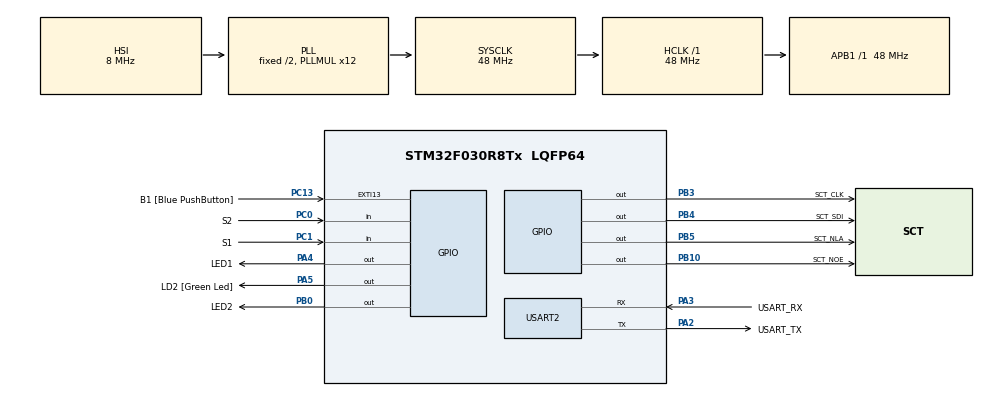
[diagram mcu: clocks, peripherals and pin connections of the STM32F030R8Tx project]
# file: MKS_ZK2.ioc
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Mcu.Family=STM32F0
Mcu.Name=STM32F030R8Tx
Mcu.Package=LQFP64
PA13.GPIO_Label=TMS
PA13.Mode=Serial_Wire
PA13.Signal=SYS_SWDIO
PA14.GPIO_Label=TCK
PA14.Mode=Serial_Wire
PA14.Signal=SYS_SWCLK
PA2.GPIO_Label=USART_TX
PA2.GPIO_Mode=GPIO_MODE_AF_PP
PA2.GPIO_PuPd=GPIO_NOPULL
PA2.GPIO_Speed=GPIO_SPEED_FREQ_LOW
PA2.Mode=Asynchronous
PA2.Signal=USART2_TX
PA3.GPIO_Label=USART_RX
PA3.GPIO_Mode=GPIO_MODE_AF_PP
PA3.GPIO_PuPd=GPIO_NOPULL
PA3.GPIO_Speed=GPIO_SPEED_FREQ_LOW
PA3.Mode=Asynchronous
PA3.Signal=USART2_RX
PA4.GPIO_Label=LED1
PA4.Signal=GPIO_Output
PA5.GPIO_Label=LD2 [Green Led]
PA5.GPIO_Mode=GPIO_MODE_OUTPUT_PP
PA5.GPIO_PuPd=GPIO_NOPULL
PA5.GPIO_Speed=GPIO_SPEED_FREQ_LOW
PA5.Signal=GPIO_Output
PB0.GPIO_Label=LED2
PB0.Signal=GPIO_Output
PB10.GPIO_Label=SCT_NOE
PB10.Signal=GPIO_Output
PB3.GPIO_Label=SCT_CLK
PB3.Signal=GPIO_Output
PB4.GPIO_Label=SCT_SDI
PB4.Signal=GPIO_Output
PB5.GPIO_Label=SCT_NLA
PB5.Signal=GPIO_Output
PC0.GPIO_Label=S2
PC0.GPIO_PuPd=GPIO_PULLUP
PC0.Signal=GPIO_Input
PC1.GPIO_Label=S1
PC1.GPIO_PuPd=GPIO_PULLUP
PC1.Signal=GPIO_Input
PC13.GPIO_Label=B1 [Blue PushButton]
PC13.GPIO_ModeDefaultEXTI=GPIO_MODE_IT_FALLING
PC13.Signal=GPXTI13
PC14-OSC32_IN.Mode=LSE-External-Oscillator
PC14-OSC32_IN.Signal=RCC_OSC32_IN
PC15-OSC32_OUT.Mode=LSE-External-Oscillator
PC15-OSC32_OUT.Signal=RCC_OSC32_OUT
PF0-OSC_IN.Mode=HSE-External-Clock-Source
PF0-OSC_IN.Signal=RCC_OSC_IN
PF1-OSC_OUT.Signal=RCC_OSC_OUT
ProjectManager.HeapSize=0x200
ProjectManager.StackSize=0x400
ProjectManager.TargetToolchain=STM32CubeIDE
RCC.AHBFreq_Value=48000000
RCC.APB1Freq_Value=48000000
RCC.APB1TimFreq_Value=48000000
RCC.HCLKFreq_Value=48000000
RCC.PLLMUL=RCC_PLL_MUL12
RCC.SYSCLKFreq_VALUE=48000000
RCC.SYSCLKSource=RCC_SYSCLKSOURCE_PLLCLK
USART2.VirtualMode-Asynchronous=VM_ASYNC
board=NUCLEO-F030R8

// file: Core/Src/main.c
/* USER CODE BEGIN Header */
/**
  ******************************************************************************
  * @file           : main.c
  * @brief          : Main program body
  ******************************************************************************
  * @attention
  *
  * Copyright (c) 2023 STMicroelectronics.
  * All rights reserved.
  *
  * This software is licensed under terms that can be found in the LICENSE file
  * in the root directory of this software component.
  * If no LICENSE file comes with this software, it is provided AS-IS.
  *
  ******************************************************************************
  */
/* USER CODE END Header */
#include "main.h"

/* USER CODE BEGIN Includes */
#include "sct.h"
/* USER CODE END Includes */

UART_HandleTypeDef huart2;

/* USER CODE BEGIN PV */

static uint8_t S1 = 0;
static uint32_t pressed_S1 = 0;
static uint8_t switch1 = 0;
static volatile uint8_t switch1_count = 0;

static volatile uint8_t dice = 0;
static uint8_t dice_roll = 1;
static uint32_t num1 = 0;
static volatile uint32_t roll_time = 100;
static volatile uint16_t roll_count = 0;

static volatile uint8_t rolling = 0;

static uint8_t kr = 0;
static uint8_t rev_dir = 1;
/* USER CODE END PV */

void SystemClock_Config(void);
static void MX_GPIO_Init(void);
static void MX_USART2_UART_Init(void);

/* USER CODE BEGIN 0 */

void dice_value(){
	static uint8_t dice_prev = 0;

	dice= (rand() % 6) + 1;

	if(dice == dice_prev){ // ochrana proti dvoum stejnym hodnotam po sobe
		dice= (rand() % 6) + 1;
	}

	dice_prev = dice;
}

/* USER CODE END 0 */

int main(void)
{

  /* MCU Configuration--------------------------------------------------------*/

  /* Reset of all peripherals, Initializes the Flash interface and the Systick. */
  HAL_Init();

  /* Configure the system clock */
  SystemClock_Config();

  /* Initialize all configured peripherals */
  MX_GPIO_Init();
  MX_USART2_UART_Init();
  /* USER CODE BEGIN 2 */
  sct_init();
  /* USER CODE END 2 */

  /* Infinite loop */
  /* USER CODE BEGIN WHILE */
  while (1)
  {

  HAL_GPIO_WritePin(LED1_GPIO_Port, LED1_Pin, 1);
  HAL_GPIO_WritePin(LED2_GPIO_Port, LED2_Pin, 1);

	switch(S1){ // S1 s osetrenymi zakmity
	case 0:
			switch1 = HAL_GPIO_ReadPin(S1_GPIO_Port, S1_Pin);
			if(switch1==0){
				switch1_count++;
				pressed_S1 = HAL_GetTick();
				S1 = 1;
			}
			break;

	case 1:
			if(HAL_GetTick() - pressed_S1>200){
				S1=0;
			}
			break;
	}

	switch(switch1_count){
	case 1:
		rolling = 1;
		switch1_count = 2;
	break;

	case 2:
		//idle

	break;

	case 3:
		rolling = 0;
		roll_count= 0;
		roll_time = 100;
		switch1_count = 0;
	break;
	}

	switch(dice_roll){
		case 1:
			if(rolling == 1){
				num1 = HAL_GetTick();
				dice_roll = 2;
			}
		break;

		case 2:
			if(HAL_GetTick()-num1 > roll_time){
				dice_value();
				roll_count ++;
				if(roll_count==40){
					roll_count=0;
					roll_time = 100;
					rolling = 0;
				}
			dice_roll = 1;
			}

		break;
	}

	switch(roll_count){
		case 20:
			roll_time = 200;
		break;

		case 31:
			roll_time = 300;
		break;

		case 35:
			roll_time = 400;
		break;

		case 38:
			roll_time = 1000;
		break;
	}

	static uint32_t lastDisplayTicks = 0;

	if (HAL_GetTick() >= lastDisplayTicks + 50) { // osetreni pro prepisovani displeje
			if(rev_dir) kr++;
			else kr--;
			if(kr > 8)
			{
			  kr = 0; // knight rider bargraph
			  rev_dir = !rev_dir;
			}
			else if(kr < 0)
			{
			kr = 0; // knight rider bargraph
			rev_dir = !rev_dir;
			}

			sct_value((dice*10) , kr, 0); // hodnota pro vypis, LED bargraf, desetinna carka

	lastDisplayTicks = HAL_GetTick();
	}

    /* USER CODE END WHILE */

  }
}

void SystemClock_Config(void)
{
  RCC_OscInitTypeDef RCC_OscInitStruct = {0};
  RCC_ClkInitTypeDef RCC_ClkInitStruct = {0};

  /** Initializes the RCC Oscillators according to the specified parameters
  * in the RCC_OscInitTypeDef structure.
  */
  RCC_OscInitStruct.OscillatorType = RCC_OSCILLATORTYPE_HSI;
  RCC_OscInitStruct.HSIState = RCC_HSI_ON;
  RCC_OscInitStruct.HSICalibrationValue = RCC_HSICALIBRATION_DEFAULT;
  RCC_OscInitStruct.PLL.PLLState = RCC_PLL_ON;
  RCC_OscInitStruct.PLL.PLLSource = RCC_PLLSOURCE_HSI;
  RCC_OscInitStruct.PLL.PLLMUL = RCC_PLL_MUL12;
  RCC_OscInitStruct.PLL.PREDIV = RCC_PREDIV_DIV1;
  if (HAL_RCC_OscConfig(&RCC_OscInitStruct) != HAL_OK)
  {
    Error_Handler();
  }

  /** Initializes the CPU, AHB and APB buses clocks
  */
  RCC_ClkInitStruct.ClockType = RCC_CLOCKTYPE_HCLK|RCC_CLOCKTYPE_SYSCLK
                              |RCC_CLOCKTYPE_PCLK1;
  RCC_ClkInitStruct.SYSCLKSource = RCC_SYSCLKSOURCE_PLLCLK;
  RCC_ClkInitStruct.AHBCLKDivider = RCC_SYSCLK_DIV1;
  RCC_ClkInitStruct.APB1CLKDivider = RCC_HCLK_DIV1;

  if (HAL_RCC_ClockConfig(&RCC_ClkInitStruct, FLASH_LATENCY_1) != HAL_OK)
  {
    Error_Handler();
  }
}

static void MX_USART2_UART_Init(void)
{

  huart2.Instance = USART2;
  huart2.Init.BaudRate = 38400;
  huart2.Init.WordLength = UART_WORDLENGTH_8B;
  huart2.Init.StopBits = UART_STOPBITS_1;
  huart2.Init.Parity = UART_PARITY_NONE;
  huart2.Init.Mode = UART_MODE_TX_RX;
  huart2.Init.HwFlowCtl = UART_HWCONTROL_NONE;
  huart2.Init.OverSampling = UART_OVERSAMPLING_16;
  huart2.Init.OneBitSampling = UART_ONE_BIT_SAMPLE_DISABLE;
  huart2.AdvancedInit.AdvFeatureInit = UART_ADVFEATURE_NO_INIT;
  if (HAL_UART_Init(&huart2) != HAL_OK)
  {
    Error_Handler();
  }

}

static void MX_GPIO_Init(void)
{
  GPIO_InitTypeDef GPIO_InitStruct = {0};

  /* GPIO Ports Clock Enable */
  __HAL_RCC_GPIOC_CLK_ENABLE();
  __HAL_RCC_GPIOF_CLK_ENABLE();
  __HAL_RCC_GPIOA_CLK_ENABLE();
  __HAL_RCC_GPIOB_CLK_ENABLE();

  /*Configure GPIO pin Output Level */
  HAL_GPIO_WritePin(GPIOA, LED1_Pin|LD2_Pin, GPIO_PIN_RESET);

  /*Configure GPIO pin Output Level */
  HAL_GPIO_WritePin(GPIOB, LED2_Pin|SCT_NOE_Pin|SCT_CLK_Pin|SCT_SDI_Pin
                          |SCT_NLA_Pin, GPIO_PIN_RESET);

  /*Configure GPIO pin : B1_Pin */
  GPIO_InitStruct.Pin = B1_Pin;
  GPIO_InitStruct.Mode = GPIO_MODE_IT_FALLING;
  GPIO_InitStruct.Pull = GPIO_NOPULL;
  HAL_GPIO_Init(B1_GPIO_Port, &GPIO_InitStruct);

  /*Configure GPIO pins : S2_Pin S1_Pin */
  GPIO_InitStruct.Pin = S2_Pin|S1_Pin;
  GPIO_InitStruct.Mode = GPIO_MODE_INPUT;
  GPIO_InitStruct.Pull = GPIO_PULLUP;
  HAL_GPIO_Init(GPIOC, &GPIO_InitStruct);

  /*Configure GPIO pins : LED1_Pin LD2_Pin */
  GPIO_InitStruct.Pin = LED1_Pin|LD2_Pin;
  GPIO_InitStruct.Mode = GPIO_MODE_OUTPUT_PP;
  GPIO_InitStruct.Pull = GPIO_NOPULL;
  GPIO_InitStruct.Speed = GPIO_SPEED_FREQ_LOW;
  HAL_GPIO_Init(GPIOA, &GPIO_InitStruct);

  /*Configure GPIO pins : LED2_Pin SCT_NOE_Pin SCT_CLK_Pin SCT_SDI_Pin
                           SCT_NLA_Pin */
  GPIO_InitStruct.Pin = LED2_Pin|SCT_NOE_Pin|SCT_CLK_Pin|SCT_SDI_Pin
                          |SCT_NLA_Pin;
  GPIO_InitStruct.Mode = GPIO_MODE_OUTPUT_PP;
  GPIO_InitStruct.Pull = GPIO_NOPULL;
  GPIO_InitStruct.Speed = GPIO_SPEED_FREQ_LOW;
  HAL_GPIO_Init(GPIOB, &GPIO_InitStruct);

}

void Error_Handler(void)
{
  __disable_irq();
  while (1)
  {
  }
}
